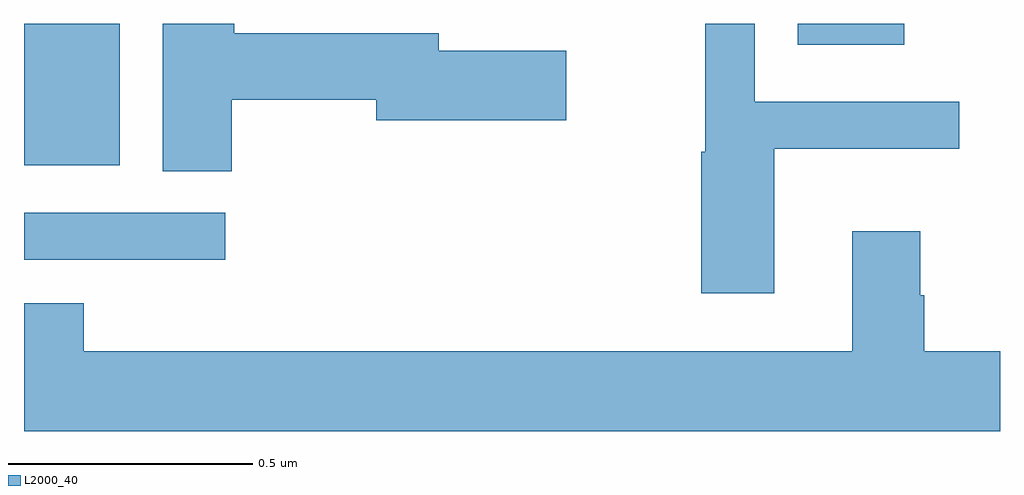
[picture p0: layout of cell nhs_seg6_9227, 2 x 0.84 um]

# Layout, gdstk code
import gdstk
lib = gdstk.Library(unit=1e-6, precision=1e-09)
def R(c, l, rs):  # rectangles x0, y0, x1, y1
    for r in rs: c.add(gdstk.rectangle(r[:2], r[2:], *l))
def P(c, l, *ps):  # polygons
    for p in ps: c.add(gdstk.Polygon(p, *l))
L2000_40 = (2000, 40)

nhs_seg6_9227 = lib.new_cell('nhs_seg6_9227')
R(nhs_seg6_9227, L2000_40, [(231,953.016,231.412,953.112), (231,953.21,231.196,953.5), (232.586,953.456,232.804,953.5)])
P(nhs_seg6_9227, L2000_40, [(232.537,953.243),(232.916,953.243),(232.916,953.34),(232.497,953.34),(232.497,953.5),(232.396,953.5),(232.396,953.237),(232.388,953.237),(232.388,952.947),(232.537,952.947)],
  [(231.426,953.344),(231.722,953.344),(231.722,953.302),(232.111,953.302),(232.111,953.444),(231.85,953.444),(231.85,953.48),(231.431,953.48),(231.431,953.5),(231.284,953.5),(231.284,953.197),(231.426,953.197)],
  [(233,952.828),(232.845,952.828),(232.845,952.943),(232.837,952.943),(232.837,953.074),(232.697,953.074),(232.697,952.828),(231.122,952.828),(231.122,952.927),(231,952.927),(231,952.664),(233,952.664)])

lib.write_gds('nhs_seg6_9227.gds')
